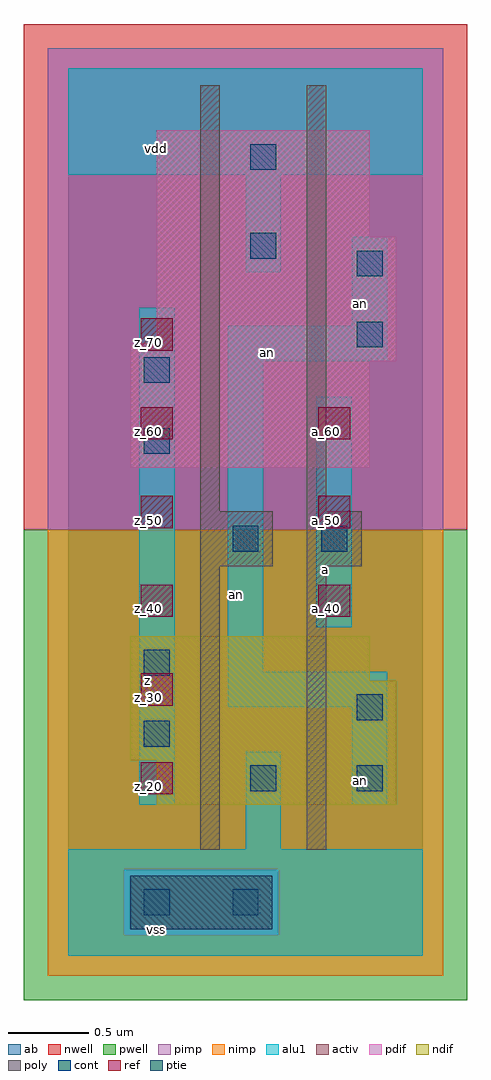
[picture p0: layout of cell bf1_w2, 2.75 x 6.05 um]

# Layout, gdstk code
import gdstk
lib = gdstk.Library(unit=1e-6, precision=2.5e-09)
def R(c, l, rs):  # rectangles x0, y0, x1, y1
    for r in rs: c.add(gdstk.rectangle(r[:2], r[2:], *l))
def A(c, l, x, y, w, h, nx, ny, dx, dy):  # array of equal rectangles
    R(c, l, [(x+i*dx, y+j*dy, x+i*dx+w, y+j*dy+h) for i in range(nx) for j in range(ny)])
ndif = (3, 0)
pdif = (4, 0)
ptie = (6, 0)
ref = (24, 0)
cont = (25, 0)
pwell = (41, 0)
nwell = (42, 0)
activ = (43, 0)
pimp = (44, 0)
nimp = (45, 0)
poly = (46, 0)
alu1 = (49, 0)
ab = (63, 0)

bf1_w2 = lib.new_cell('bf1_w2')
R(bf1_w2, ndif, [(0.55,0.935,2.035,1.21), (0.385,1.21,2.035,1.705), (0.385,1.705,1.87,1.98)])
R(bf1_w2, pdif, [(0.385,3.025,1.87,3.685), (0.385,3.685,2.035,3.795), (0.55,3.795,2.035,4.455), (0.55,4.455,1.87,5.115)])
R(bf1_w2, ptie, [(0.385,0.165,1.265,0.495)])
A(bf1_w2, ref, 0.45, 1, 0.2, 0.2, 1, 6, 0, 0.55)
A(bf1_w2, ref, 1.55, 2.1, 0.2, 0.2, 1, 3, 0, 0.55)
R(bf1_w2, cont, [(0.47,0.25,0.63,0.41), (1.02,0.25,1.18,0.41), (1.13,1.02,1.29,1.18), (1.79,1.02,1.95,1.18), (0.47,1.295,0.63,1.455), (1.79,1.46,1.95,1.62), (0.47,1.735,0.63,1.895), (1.02,2.505,1.18,2.665), (1.57,2.505,1.73,2.665), (0.47,3.11,0.63,3.27), (0.47,3.55,0.63,3.71), (1.79,3.77,1.95,3.93), (1.79,4.21,1.95,4.37), (1.13,4.32,1.29,4.48), (1.13,4.87,1.29,5.03)])
R(bf1_w2, pwell, [(-0.275,-0.275,2.475,2.64)])
R(bf1_w2, nwell, [(-0.275,2.64,2.475,5.775)])
R(bf1_w2, activ, [(0.385,0.165,1.265,0.495), (0.55,0.935,2.035,1.21), (0.385,1.21,2.035,1.705), (0.385,1.705,1.87,1.98), (0.385,3.025,1.87,3.685), (0.385,3.685,2.035,3.795), (0.55,3.795,2.035,4.455), (0.55,4.455,1.87,5.115)])
R(bf1_w2, pimp, [(0.345,0.125,1.305,0.535), (-0.125,2.64,2.325,5.625)])
R(bf1_w2, nimp, [(-0.125,-0.125,2.325,0.125), (-0.125,0.125,0.345,0.535), (1.305,0.125,2.325,0.535), (-0.125,0.535,2.325,2.64)])
R(bf1_w2, poly, [(0.82,0.655,0.94,2.415), (1.48,0.655,1.6,2.415), (0.82,2.415,1.27,2.755), (1.48,2.415,1.82,2.755), (0.82,2.755,0.94,5.395), (1.48,2.755,1.6,5.395)])
R(bf1_w2, alu1, [(0,0,2.2,0.66), (1.1,0.66,1.32,1.265), (0.44,0.935,0.66,4.015), (1.76,0.935,1.98,1.54), (0.99,1.54,1.98,1.76), (0.99,1.76,1.21,3.685), (1.54,2.035,1.76,3.465), (0.99,3.685,1.98,3.905), (1.76,3.905,1.98,4.455), (1.1,4.235,1.32,4.84), (0,4.84,2.2,5.5)])
R(bf1_w2, ab, [(0,0,2.2,5.5)])
bf1_w2.add(gdstk.Label('vss', (0.55,0.165), layer=49, texttype=0))
bf1_w2.add(gdstk.Label('an', (1.815,1.085), layer=49, texttype=0))
bf1_w2.add(gdstk.Label('a', (1.595,2.3925), layer=49, texttype=0))
bf1_w2.add(gdstk.Label('an', (1.045,2.24), layer=49, texttype=0))
bf1_w2.add(gdstk.Label('an', (1.2375,3.74), layer=49, texttype=0))
bf1_w2.add(gdstk.Label('an', (1.815,4.0425), layer=49, texttype=0))
bf1_w2.add(gdstk.Label('z', (0.495,1.705), layer=49, texttype=0))
bf1_w2.add(gdstk.Label('vdd', (0.55,5.005), layer=49, texttype=0))
bf1_w2.add(gdstk.Label('a_50', (1.6,2.7), layer=24, texttype=0))
bf1_w2.add(gdstk.Label('a_60', (1.6,3.25), layer=24, texttype=0))
bf1_w2.add(gdstk.Label('a_40', (1.6,2.15), layer=24, texttype=0))
bf1_w2.add(gdstk.Label('z_50', (0.5,2.7), layer=24, texttype=0))
bf1_w2.add(gdstk.Label('z_40', (0.5,2.15), layer=24, texttype=0))
bf1_w2.add(gdstk.Label('z_60', (0.5,3.25), layer=24, texttype=0))
bf1_w2.add(gdstk.Label('z_70', (0.5,3.8), layer=24, texttype=0))
bf1_w2.add(gdstk.Label('z_30', (0.5,1.6), layer=24, texttype=0))
bf1_w2.add(gdstk.Label('z_20', (0.5,1.05), layer=24, texttype=0))

lib.write_gds('bf1_w2.gds')
